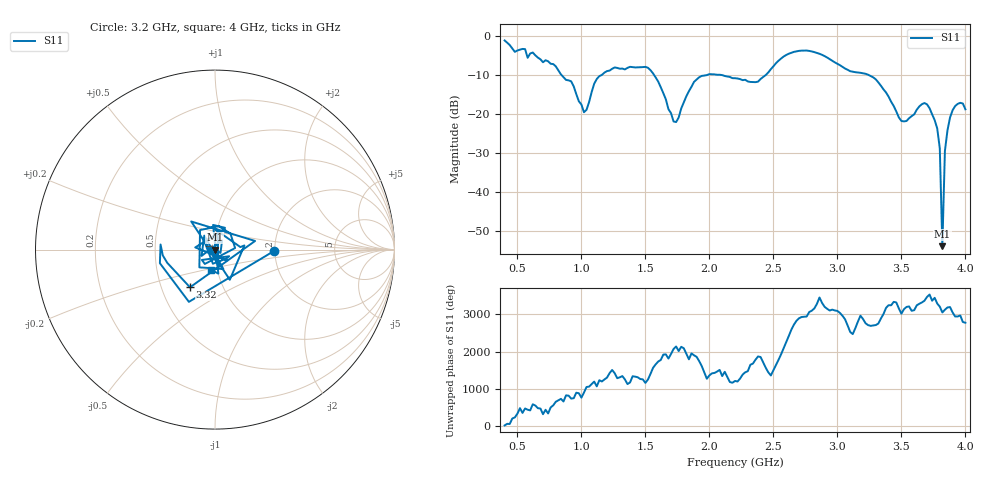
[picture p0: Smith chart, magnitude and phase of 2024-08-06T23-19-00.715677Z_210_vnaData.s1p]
!Created with skrf (http://scikit-rf.org).
# Hz S RI R 50.0
!freq ReS11 ImS11
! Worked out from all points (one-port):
!   181 points, 400 MHz to 4 GHz, reference 50 ohm
!   lowest |S11| = -54.0 dB at 3.82 GHz (marker M1), VSWR 1.00, Z = 49.8 + j0.0224 ohm
!   |S11| at or under -10 dB: 1.567 GHz to 1.987 GHz (420.5 MHz wide, 23.7 % of centre); 2.08 GHz to 2.443 GHz (362.5 MHz wide, 16 % of centre); 3.24 GHz to end of sweep (the widest 3 of 5)
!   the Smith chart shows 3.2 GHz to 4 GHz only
!   S11 on the Smith chart (normalised r, x): 3.2 GHz: 1.98, -0.03; 3.32 GHz: 0.70, -0.31; 4 GHz: 0.93, -0.21
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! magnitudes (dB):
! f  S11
! 400 MHz  -1.2
! 860 MHz  -10.6
! 920 MHz  -11.7
! 1.02 GHz  -19.6
! 1.12 GHz  -11.1
! 1.3 GHz  -8.5
! 1.52 GHz  -8.2
! 1.6 GHz  -11.7
! 1.72 GHz  -22.0
! 1.76 GHz  -21.0
! 1.92 GHz  -10.6
! 2.2 GHz  -10.9
! 2.38 GHz  -11.8
! 2.66 GHz  -4.1
! 2.86 GHz  -4.6
! 3.1 GHz  -9.1
! 3.2 GHz  -9.6
! 3.32 GHz  -12.0
! 3.5 GHz  -21.9
! 3.56 GHz  -21.2
! 3.68 GHz  -17.3
! 3.78 GHz  -23.8
! 3.8 GHz  -28.9
! 3.82 GHz  -54.0
! 3.84 GHz  -29.6
! 3.86 GHz  -24.3
! 3.92 GHz  -18.0
! 4 GHz  -18.9
